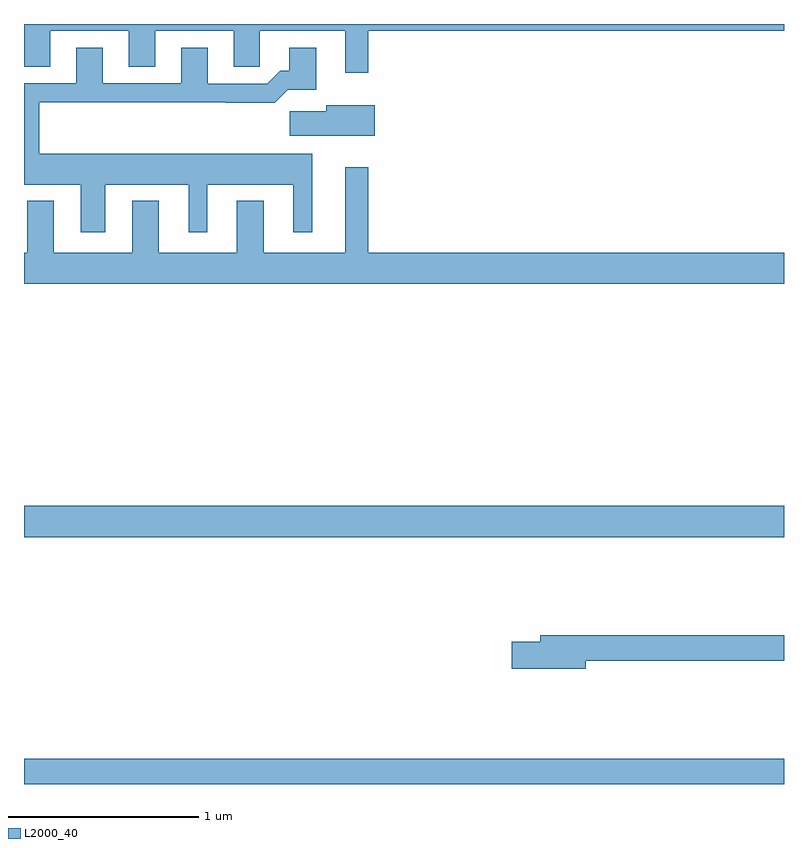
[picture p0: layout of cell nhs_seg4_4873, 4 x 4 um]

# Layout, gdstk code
import gdstk
lib = gdstk.Library(unit=1e-6, precision=1e-09)
def R(c, l, rs):  # rectangles x0, y0, x1, y1
    for r in rs: c.add(gdstk.rectangle(r[:2], r[2:], *l))
def P(c, l, *ps):  # polygons
    for p in ps: c.add(gdstk.Polygon(p, *l))
L2000_40 = (2000, 40)

nhs_seg4_4873 = lib.new_cell('nhs_seg4_4873')
R(nhs_seg4_4873, L2000_40, [(375,748.9,379,749.032), (375,750.2,379,750.364)])
P(nhs_seg4_4873, L2000_40, [(376.813,752.864),(379,752.864),(379,752.9),(375,752.9),(375,752.674),(375.139,752.674),(375.139,752.864),(375.551,752.864),(375.551,752.674),(375.691,752.674),(375.691,752.864),(376.103,752.864),(376.103,752.674),(376.242,752.674),(376.242,752.864),(376.691,752.864),(376.691,752.643),(376.813,752.643)],
  [(375.427,752.054),(375.866,752.054),(375.866,751.803),(375.964,751.803),(375.964,752.054),(376.418,752.054),(376.418,751.803),(376.516,751.803),(376.516,752.218),(375.079,752.218),(375.079,752.488),(376.063,752.488),(376.063,752.486),(376.319,752.486),(376.388,752.555),(376.537,752.555),(376.537,752.776),(376.397,752.776),(376.397,752.653),(376.348,752.653),(376.281,752.586),(375.967,752.586),(375.967,752.776),(375.827,752.776),(375.827,752.589),(375.415,752.589),(375.415,752.776),(375.275,752.776),(375.275,752.589),(375,752.589),(375,752.054),(375.299,752.054),(375.299,751.803),(375.427,751.803)],
  [(376.846,752.473),(376.592,752.473),(376.592,752.441),(376.398,752.441),(376.398,752.312),(376.846,752.312)],
  [(375.017,751.969),(375.017,751.696),(375,751.696),(375,751.532),(379,751.532),(379,751.696),(376.813,751.696),(376.813,752.146),(376.691,752.146),(376.691,751.696),(376.261,751.696),(376.261,751.969),(376.121,751.969),(376.121,751.696),(375.709,751.696),(375.709,751.969),(375.569,751.969),(375.569,751.696),(375.157,751.696),(375.157,751.969)],
  [(377.956,749.548),(379,749.548),(379,749.684),(377.717,749.684),(377.717,749.648),(377.568,749.648),(377.568,749.506),(377.956,749.506)])

lib.write_gds('nhs_seg4_4873.gds')
